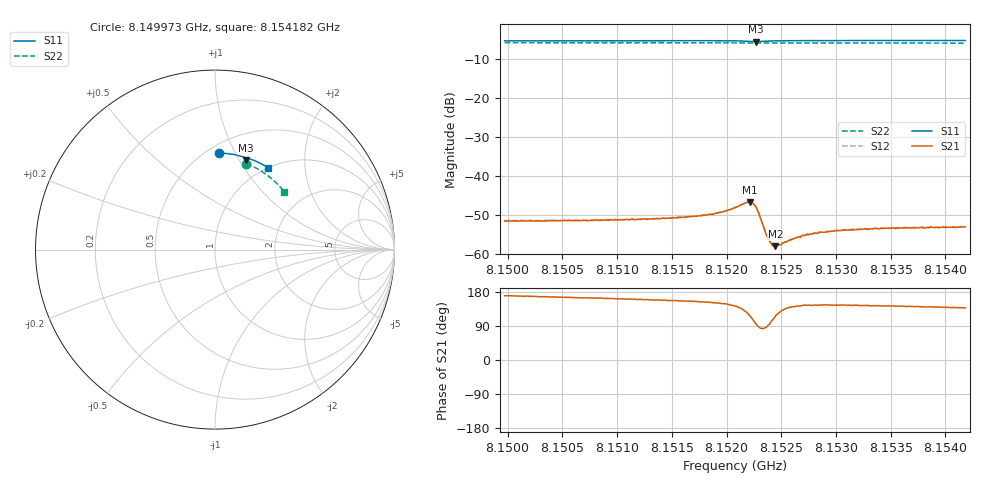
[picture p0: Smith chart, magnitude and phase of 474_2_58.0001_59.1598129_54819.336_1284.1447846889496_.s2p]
#  HZ  S  RI  R  50.00
! Rohde & Schwarz Vector Network Analyzer
! Rohde-Schwarz,ZNB20-2Port,1311601062101988,3.16
! Created: UTC 3/21/2024, 1:11:35 AM
! freq[Hz]  re:S11  im:S11  re:S21  im:S21  re:S12  im:S12  re:S22  im:S22
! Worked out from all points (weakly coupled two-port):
!   401 points, 8.149973 GHz to 8.154182 GHz, reference 50 ohm
!   highest |S21| = -46.71 dB at 8.152214 GHz (marker M1); lowest = -58.0 dB at 8.152446 GHz (marker M2)
!   lowest |S11| = -5.6 dB at 8.152267 GHz (marker M3), VSWR 3.22, Z = 38.8 + j53.2 ohm
!   |S11| at or under -10 dB: nowhere
!   |S22| runs from -6.0 to -5.9 dB; largest |S21 - S12| = 0.00012
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8.1499726e9  0.0217 0.5377  -0.0026 0.000476  -0.00261 0.000513  0.1751 0.4787
8.1506776e9  0.0707 0.5347  -0.00257 0.000745  -0.00259 0.000783  0.2164 0.4604
8.1513827e9  0.1198 0.5269  -0.00262 0.00105  -0.00264 0.00111  0.2559 0.4384
8.1517089e9  0.1426 0.5215  -0.00274 0.0013  -0.00273 0.00134  0.2735 0.4272
8.1518773e9  0.1548 0.5178  -0.00282 0.00158  -0.00284 0.00159  0.2822 0.4211
8.1519825e9  0.1627 0.5148  -0.003 0.00183  -0.00296 0.00191  0.2877 0.4171
8.1520772e9  0.17 0.5107  -0.0031 0.00241  -0.0031 0.00241  0.2924 0.4134
8.152172e9  0.176 0.5033  -0.00278 0.00352  -0.00277 0.00357  0.2973 0.4098
8.1522141e9  0.1759 0.499  -0.00202 0.00415  -0.00198 0.00419  0.2992 0.4079
8.1522456e9  0.1737 0.4969  -0.00109 0.00423  -0.00103 0.0043  0.3004 0.4067
8.1522667e9  0.1716 0.4969  -0.000388 0.00398  -0.000358 0.00404  0.3015 0.406
8.1522982e9  0.1699 0.4994  0.000177 0.00321  0.000271 0.00321  0.303 0.405
8.1523509e9  0.1721 0.5041  0.000193 0.00195  0.000225 0.00199  0.3056 0.4031
8.1523824e9  0.1751 0.5058  -6.14e-05 0.00155  -2.52e-05 0.00155  0.3072 0.402
8.152414e9  0.1781 0.5066  -0.000317 0.00128  -0.000315 0.00132  0.3089 0.4008
8.1524456e9  0.1812 0.5068  -0.000537 0.00113  -0.000531 0.00115  0.3105 0.3995
8.1524877e9  0.185 0.5065  -0.000771 0.00105  -0.000742 0.00105  0.3127 0.3977
8.1526139e9  0.1952 0.5045  -0.0012 0.00098  -0.00121 0.00103  0.3188 0.3925
8.1527823e9  0.2074 0.5006  -0.00145 0.00106  -0.00144 0.00109  0.327 0.3856
8.1530138e9  0.223 0.4947  -0.00161 0.00113  -0.00163 0.00117  0.3378 0.3756
8.1534874e9  0.2535 0.4808  -0.0017 0.00128  -0.00169 0.00131  0.3587 0.3545
8.1541819e9  0.2956 0.4573  -0.00164 0.00149  -0.00161 0.00152  0.3872 0.3214
